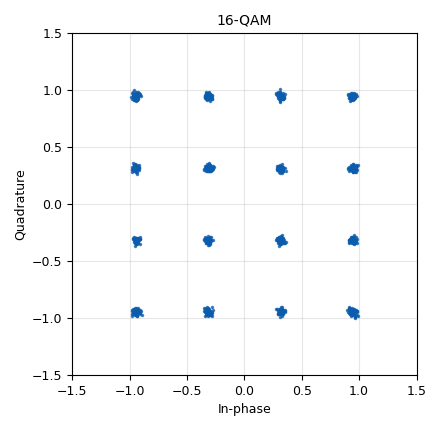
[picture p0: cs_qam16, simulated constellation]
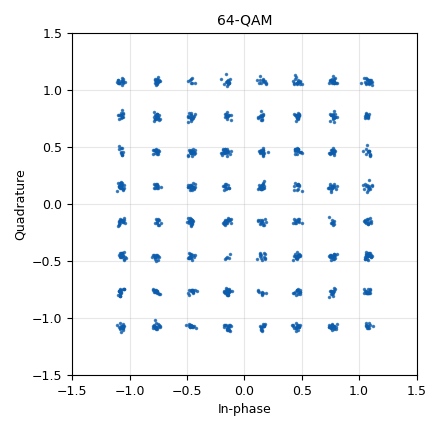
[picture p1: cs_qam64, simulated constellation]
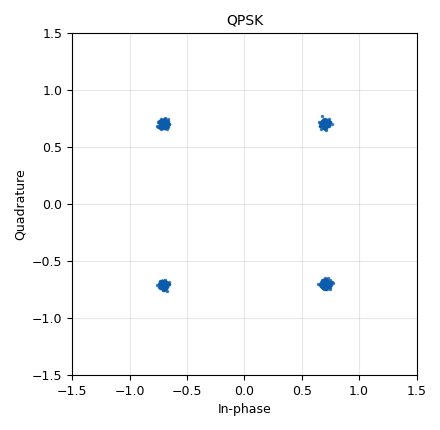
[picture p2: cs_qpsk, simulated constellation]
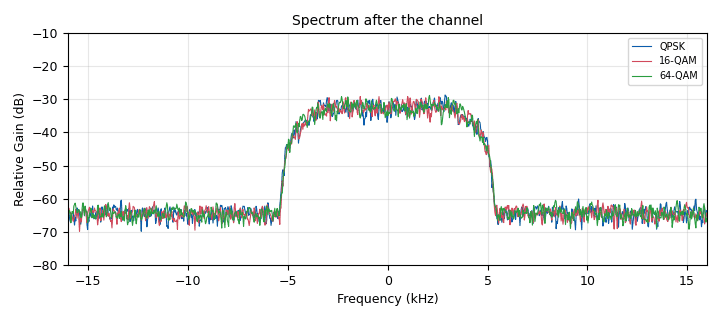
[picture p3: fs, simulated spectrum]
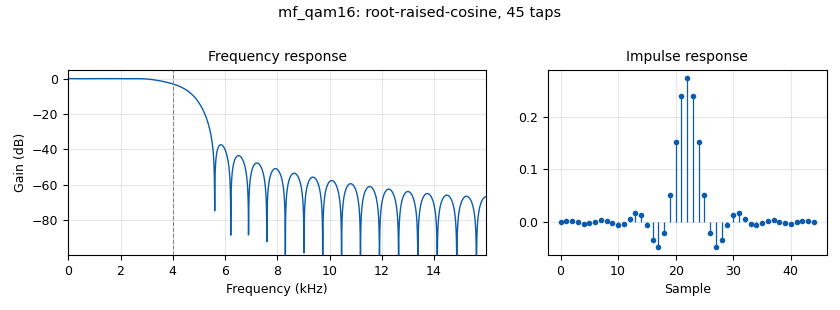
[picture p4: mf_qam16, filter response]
options:
  parameters:
    author: ECE 448
    description: 'L20: random bytes through three Constellation Modulators (QPSK, 16-QAM, and 64-QAM, each scaled to the same average power, with the same RRC pulse) and three Channel Models that share one Noise amplitude slider. Raise the noise and watch which constellation merges first; the spectrum shows that all three fill the same band. No hardware needed.'
    generate_options: qt_gui
    id: L20_qam_noise
    output_language: python
    title: L20 - QPSK, 16-QAM, and 64-QAM Through Noise
  states: {}

blocks:
- name: excess_bw
  id: variable
  parameters:
    value: '0.35'
  states: {}
- name: noise
  id: variable_qtgui_range
  parameters:
    gui_hint: 0,0,1,2
    label: Noise amplitude
    start: '0'
    step: '0.01'
    stop: '1.0'
    value: '0.05'
  states: {}
- name: qam16
  id: variable_constellation
  parameters:
    precision: '8'
    type: 16qam
  states: {}
- name: qam64
  id: variable_constellation
  parameters:
    const_points: '[complex(i, q) for i in range(-7, 8, 2) for q in range(-7, 8, 2)]'
    dims: '1'
    normalization: digital.constellation.POWER_NORMALIZATION
    precision: '8'
    rot_sym: '4'
    sym_map: list(range(64))
    type: calcdist
  states: {}
- name: qpsk
  id: variable_constellation
  parameters:
    const_points: '[1+1j, -1+1j, -1-1j, 1-1j]'
    dims: '1'
    normalization: digital.constellation.POWER_NORMALIZATION
    precision: '8'
    rot_sym: '4'
    sym_map: '[0, 1, 3, 2]'
    type: calcdist
  states: {}
- name: rx_gain
  id: variable_qtgui_range
  parameters:
    gui_hint: 0,2,1,1
    label: Receiver gain
    start: '0.5'
    step: '0.05'
    stop: '1.5'
    value: '1.0'
  states: {}
- name: rx_taps
  id: variable
  parameters:
    value: firdes.root_raised_cosine(1.0, samp_rate, samp_rate/sps, excess_bw, 11*sps)
  states: {}
- name: samp_rate
  id: variable
  parameters:
    value: '32000'
  states: {}
- name: sps
  id: variable
  parameters:
    value: '4'
  states: {}
- name: ch_qam16
  id: channels_channel_model
  parameters:
    epsilon: '1.0'
    freq_offset: '0'
    noise_voltage: noise
    seed: '2'
    taps: '1.0'
  states: {}
- name: ch_qam64
  id: channels_channel_model
  parameters:
    epsilon: '1.0'
    freq_offset: '0'
    noise_voltage: noise
    seed: '3'
    taps: '1.0'
  states: {}
- name: ch_qpsk
  id: channels_channel_model
  parameters:
    epsilon: '1.0'
    freq_offset: '0'
    noise_voltage: noise
    seed: '1'
    taps: '1.0'
  states: {}
- name: cs_qam16
  id: qtgui_const_sink_x
  parameters:
    grid: 'True'
    gui_hint: 1,1,1,1
    legend: 'False'
    name: '"16-QAM"'
    size: '1024'
    type: complex
    update_time: '0.1'
    xmax: '1.5'
    xmin: '-1.5'
    ymax: '1.5'
    ymin: '-1.5'
  states: {}
- name: cs_qam64
  id: qtgui_const_sink_x
  parameters:
    grid: 'True'
    gui_hint: 1,2,1,1
    legend: 'False'
    name: '"64-QAM"'
    size: '1024'
    type: complex
    update_time: '0.1'
    xmax: '1.5'
    xmin: '-1.5'
    ymax: '1.5'
    ymin: '-1.5'
  states: {}
- name: cs_qpsk
  id: qtgui_const_sink_x
  parameters:
    grid: 'True'
    gui_hint: 1,0,1,1
    legend: 'False'
    name: '"QPSK"'
    size: '1024'
    type: complex
    update_time: '0.1'
    xmax: '1.5'
    xmin: '-1.5'
    ymax: '1.5'
    ymin: '-1.5'
  states: {}
- name: fs
  id: qtgui_freq_sink_x
  parameters:
    average: '0.1'
    bw: samp_rate
    fc: '0'
    fftsize: '1024'
    grid: 'True'
    gui_hint: 2,0,1,3
    label1: '"QPSK"'
    label2: '"16-QAM"'
    label3: '"64-QAM"'
    name: '"Spectrum after the channel"'
    nconnections: '3'
    type: complex
    update_time: '0.1'
    ymax: '-10'
    ymin: '-80'
  states: {}
- name: g_qam16
  id: blocks_multiply_const_vxx
  parameters:
    const: rx_gain
    type: complex
  states: {}
- name: g_qam64
  id: blocks_multiply_const_vxx
  parameters:
    const: rx_gain
    type: complex
  states: {}
- name: g_qpsk
  id: blocks_multiply_const_vxx
  parameters:
    const: rx_gain
    type: complex
  states: {}
- name: mf_qam16
  id: fir_filter_xxx
  parameters:
    decim: '1'
    taps: rx_taps
    type: ccc
  states: {}
- name: mf_qam64
  id: fir_filter_xxx
  parameters:
    decim: '1'
    taps: rx_taps
    type: ccc
  states: {}
- name: mf_qpsk
  id: fir_filter_xxx
  parameters:
    decim: '1'
    taps: rx_taps
    type: ccc
  states: {}
- name: mod_qam16
  id: digital_constellation_modulator
  parameters:
    constellation: qam16
    differential: 'False'
    excess_bw: excess_bw
    samples_per_symbol: sps
  states: {}
- name: mod_qam64
  id: digital_constellation_modulator
  parameters:
    constellation: qam64
    differential: 'False'
    excess_bw: excess_bw
    samples_per_symbol: sps
  states: {}
- name: mod_qpsk
  id: digital_constellation_modulator
  parameters:
    constellation: qpsk
    differential: 'False'
    excess_bw: excess_bw
    samples_per_symbol: sps
  states: {}
- name: src_qam16
  id: analog_random_source_x
  parameters:
    max: '256'
    min: '0'
    num_samps: '1000'
    repeat: 'True'
    type: byte
  states: {}
- name: src_qam64
  id: analog_random_source_x
  parameters:
    max: '256'
    min: '0'
    num_samps: '1000'
    repeat: 'True'
    type: byte
  states: {}
- name: src_qpsk
  id: analog_random_source_x
  parameters:
    max: '256'
    min: '0'
    num_samps: '1000'
    repeat: 'True'
    type: byte
  states: {}
- name: ss_qam16
  id: digital_symbol_sync_xx
  parameters:
    damping: '1.0'
    loop_bw: '0.01'
    max_dev: '1.5'
    osps: '1'
    resamp_type: digital.IR_MMSE_8TAP
    sps: sps
    ted_gain: '1.0'
    ted_type: digital.TED_GARDNER
    type: cc
  states: {}
- name: ss_qam64
  id: digital_symbol_sync_xx
  parameters:
    damping: '1.0'
    loop_bw: '0.01'
    max_dev: '1.5'
    osps: '1'
    resamp_type: digital.IR_MMSE_8TAP
    sps: sps
    ted_gain: '1.0'
    ted_type: digital.TED_GARDNER
    type: cc
  states: {}
- name: ss_qpsk
  id: digital_symbol_sync_xx
  parameters:
    damping: '1.0'
    loop_bw: '0.01'
    max_dev: '1.5'
    osps: '1'
    resamp_type: digital.IR_MMSE_8TAP
    sps: sps
    ted_gain: '1.0'
    ted_type: digital.TED_GARDNER
    type: cc
  states: {}
- name: thr_qam16
  id: blocks_throttle2
  parameters:
    samples_per_second: samp_rate
    type: complex
  states: {}
- name: thr_qam64
  id: blocks_throttle2
  parameters:
    samples_per_second: samp_rate
    type: complex
  states: {}
- name: thr_qpsk
  id: blocks_throttle2
  parameters:
    samples_per_second: samp_rate
    type: complex
  states: {}

connections:
- [ch_qam16, '0', fs, '1']
- [ch_qam16, '0', mf_qam16, '0']
- [ch_qam64, '0', fs, '2']
- [ch_qam64, '0', mf_qam64, '0']
- [ch_qpsk, '0', fs, '0']
- [ch_qpsk, '0', mf_qpsk, '0']
- [g_qam16, '0', cs_qam16, '0']
- [g_qam64, '0', cs_qam64, '0']
- [g_qpsk, '0', cs_qpsk, '0']
- [mf_qam16, '0', ss_qam16, '0']
- [mf_qam64, '0', ss_qam64, '0']
- [mf_qpsk, '0', ss_qpsk, '0']
- [mod_qam16, '0', thr_qam16, '0']
- [mod_qam64, '0', thr_qam64, '0']
- [mod_qpsk, '0', thr_qpsk, '0']
- [src_qam16, '0', mod_qam16, '0']
- [src_qam64, '0', mod_qam64, '0']
- [src_qpsk, '0', mod_qpsk, '0']
- [ss_qam16, '0', g_qam16, '0']
- [ss_qam64, '0', g_qam64, '0']
- [ss_qpsk, '0', g_qpsk, '0']
- [thr_qam16, '0', ch_qam16, '0']
- [thr_qam64, '0', ch_qam64, '0']
- [thr_qpsk, '0', ch_qpsk, '0']

metadata:
  file_format: 1
  grc_version: 3.10.9.2
